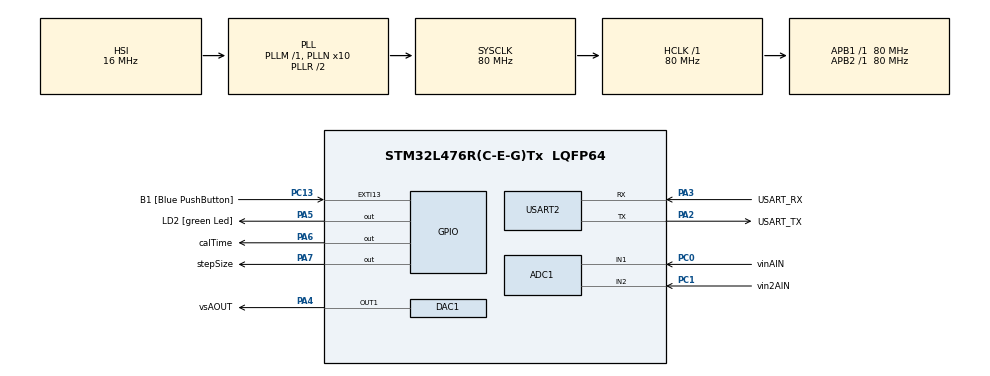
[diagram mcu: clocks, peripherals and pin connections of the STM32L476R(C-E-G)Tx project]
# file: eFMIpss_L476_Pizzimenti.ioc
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ADC1.Channel-0\#ChannelRegularConversion=ADC_CHANNEL_1
ADC1.NbrOfConversionFlag=1
ADC1.OffsetNumber-0\#ChannelRegularConversion=ADC_OFFSET_NONE
ADC1.Rank-0\#ChannelRegularConversion=1
ADC1.SamplingTime-0\#ChannelRegularConversion=ADC_SAMPLETIME_2CYCLES_5
ADC1.master=1
Mcu.Family=STM32L4
Mcu.Name=STM32L476R(C-E-G)Tx
Mcu.Package=LQFP64
NVIC.EXTI15_10_IRQn=true\:0\:0\:false\:false\:true\:true\:true\:true
NVIC.PriorityGroup=NVIC_PRIORITYGROUP_4
NVIC.TIM1_UP_TIM16_IRQn=true\:0\:0\:false\:false\:true\:true\:true\:true
PA13\ (JTMS-SWDIO).GPIO_Label=TMS
PA13\ (JTMS-SWDIO).Mode=Serial_Wire
PA13\ (JTMS-SWDIO).Signal=SYS_JTMS-SWDIO
PA14\ (JTCK-SWCLK).GPIO_Label=TCK
PA14\ (JTCK-SWCLK).Mode=Serial_Wire
PA14\ (JTCK-SWCLK).Signal=SYS_JTCK-SWCLK
PA2.GPIO_Label=USART_TX
PA2.GPIO_Mode=GPIO_MODE_AF_PP
PA2.GPIO_PuPd=GPIO_NOPULL
PA2.GPIO_Speed=GPIO_SPEED_FREQ_VERY_HIGH
PA2.Mode=Asynchronous
PA2.Signal=USART2_TX
PA3.GPIO_Label=USART_RX
PA3.GPIO_Mode=GPIO_MODE_AF_PP
PA3.GPIO_PuPd=GPIO_NOPULL
PA3.GPIO_Speed=GPIO_SPEED_FREQ_VERY_HIGH
PA3.Mode=Asynchronous
PA3.Signal=USART2_RX
PA4.GPIO_Label=vsAOUT
PA4.Signal=COMP_DAC11_group
PA5.GPIO_Label=LD2 [green Led]
PA5.GPIO_ModeDefaultOutputPP=GPIO_MODE_OUTPUT_PP
PA5.GPIO_PuPd=GPIO_NOPULL
PA5.GPIO_Speed=GPIO_SPEED_FREQ_LOW
PA5.Signal=GPIO_Output
PA6.GPIO_Label=calTime
PA6.Signal=GPIO_Output
PA7.GPIO_Label=stepSize
PA7.Signal=GPIO_Output
PB3\ (JTDO-TRACESWO).GPIO_Label=SWO
PB3\ (JTDO-TRACESWO).Signal=SYS_JTDO-SWO
PC0.GPIO_Label=vinAIN
PC0.Signal=ADCx_IN1
PC1.GPIO_Label=vin2AIN
PC1.Signal=ADCx_IN2
PC13.GPIO_Label=B1 [Blue PushButton]
PC13.GPIO_ModeDefaultEXTI=GPIO_MODE_IT_FALLING
PC13.GPIO_PuPd=GPIO_NOPULL
PC13.Signal=GPXTI13
PC14-OSC32_IN\ (PC14).Mode=LSE-External-Oscillator
PC14-OSC32_IN\ (PC14).Signal=RCC_OSC32_IN
PC15-OSC32_OUT\ (PC15).Mode=LSE-External-Oscillator
PC15-OSC32_OUT\ (PC15).Signal=RCC_OSC32_OUT
PH0-OSC_IN\ (PH0).Signal=RCC_OSC_IN
PH1-OSC_OUT\ (PH1).Signal=RCC_OSC_OUT
ProjectManager.HeapSize=0x200
ProjectManager.StackSize=0x400
ProjectManager.TargetToolchain=STM32CubeIDE
RCC.ADCFreq_Value=64000000
RCC.AHBFreq_Value=80000000
RCC.APB1Freq_Value=80000000
RCC.APB1TimFreq_Value=80000000
RCC.APB2Freq_Value=80000000
RCC.APB2TimFreq_Value=80000000
RCC.CortexFreq_Value=80000000
RCC.HCLKFreq_Value=80000000
RCC.HSE_VALUE=8000000
RCC.HSI_VALUE=16000000
RCC.MSI_VALUE=4000000
RCC.PLLN=10
RCC.PLLSourceVirtual=RCC_PLLSOURCE_HSI
RCC.PREFETCH_ENABLE=1
RCC.SYSCLKFreq_VALUE=80000000
RCC.SYSCLKSource=RCC_SYSCLKSOURCE_PLLCLK
RCC.USBFreq_Value=64000000
RCC.VCOOutputFreq_Value=160000000
SH.ADCx_IN1.0=ADC1_IN1,IN1-Single-Ended
SH.ADCx_IN2.0=ADC1_IN2,IN2-Single-Ended
SH.COMP_DAC11_group.0=DAC1_OUT1,DAC_OUT1
TIM1.CounterMode=TIM_COUNTERMODE_DOWN
TIM1.Period=999
TIM1.Prescaler=79
USART2.VirtualMode-Asynchronous=VM_ASYNC
VP_TIM1_VS_ClockSourceINT.Mode=Internal
board=NUCLEO-L476RG

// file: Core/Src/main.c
/* USER CODE BEGIN Header */
/** NEW main for L476
 *
  ******************************************************************************
  * @file           : main.c
  * @brief          : Main program body
  ******************************************************************************
  * @attention
  *
  * Copyright (c) 2025 STMicroelectronics.
  * All rights reserved.
  *
  * This software is licensed under terms that can be found in the LICENSE file
  * in the root directory of this software component.
  * If no LICENSE file comes with this software, it is provided AS-IS.
  *
  ******************************************************************************
  */
/* USER CODE END Header */
#include "main.h"

/* USER CODE BEGIN Includes */
#include "block.h"
/* USER CODE END Includes */

/* USER CODE BEGIN PTD */
//Made a readable alias here because the hash is annoyingly long...
typedef BlockState_H225c1baf6cf5a31bc9b0c38998c32298f6f0531c_cb4a8a449b4ada864625ee5a4355578a3aaf08ed ModelPSS;
/* USER CODE END PTD */

ADC_HandleTypeDef hadc1;

DAC_HandleTypeDef hdac1;

TIM_HandleTypeDef htim1;

UART_HandleTypeDef huart2;

/* USER CODE BEGIN PV */
static ModelPSS pssModel;

/* USER CODE END PV */

void SystemClock_Config(void);
static void MX_GPIO_Init(void);
static void MX_USART2_UART_Init(void);
static void MX_ADC1_Init(void);
static void MX_DAC1_Init(void);
static void MX_TIM1_Init(void);
/* USER CODE BEGIN PFP */
static uint16_t ADC1_ReadOnce(void);
static float ADC_CodeToVolts(uint16_t code, float vdda);
/* USER CODE END PFP */

int main(void)
{

  /* MCU Configuration--------------------------------------------------------*/

  /* Reset of all peripherals, Initializes the Flash interface and the Systick. */
  HAL_Init();

  /* Configure the system clock */
  SystemClock_Config();

  /* Initialize all configured peripherals */
  MX_GPIO_Init();
  MX_USART2_UART_Init();
  MX_ADC1_Init();
  MX_DAC1_Init();
  MX_TIM1_Init();
  /* USER CODE BEGIN 2 */
    //Call the eFMI Startup function directly (instead of using Hao's eFMI wrapper file)
    Startup_H225c1baf6cf5a31bc9b0c38998c32298f6f0531c_cb4a8a449b4ada864625ee5a4355578a3aaf08ed(&pssModel);

    HAL_DAC_Start(&hdac1, DAC_CHANNEL_1);
    HAL_TIM_Base_Start_IT(&htim1);
    __enable_irq();

  /* USER CODE END 2 */

  /* Infinite loop */
  while (1)
  {

  }
}

void SystemClock_Config(void)
{
  RCC_OscInitTypeDef RCC_OscInitStruct = {0};
  RCC_ClkInitTypeDef RCC_ClkInitStruct = {0};

  /** Configure the main internal regulator output voltage
  */
  if (HAL_PWREx_ControlVoltageScaling(PWR_REGULATOR_VOLTAGE_SCALE1) != HAL_OK)
  {
    Error_Handler();
  }

  /** Initializes the RCC Oscillators according to the specified parameters
  * in the RCC_OscInitTypeDef structure.
  */
  RCC_OscInitStruct.OscillatorType = RCC_OSCILLATORTYPE_HSI;
  RCC_OscInitStruct.HSIState = RCC_HSI_ON;
  RCC_OscInitStruct.HSICalibrationValue = RCC_HSICALIBRATION_DEFAULT;
  RCC_OscInitStruct.PLL.PLLState = RCC_PLL_ON;
  RCC_OscInitStruct.PLL.PLLSource = RCC_PLLSOURCE_HSI;
  RCC_OscInitStruct.PLL.PLLM = 1;
  RCC_OscInitStruct.PLL.PLLN = 10;
  RCC_OscInitStruct.PLL.PLLP = RCC_PLLP_DIV7;
  RCC_OscInitStruct.PLL.PLLQ = RCC_PLLQ_DIV2;
  RCC_OscInitStruct.PLL.PLLR = RCC_PLLR_DIV2;
  if (HAL_RCC_OscConfig(&RCC_OscInitStruct) != HAL_OK)
  {
    Error_Handler();
  }

  /** Initializes the CPU, AHB and APB buses clocks
  */
  RCC_ClkInitStruct.ClockType = RCC_CLOCKTYPE_HCLK|RCC_CLOCKTYPE_SYSCLK
                              |RCC_CLOCKTYPE_PCLK1|RCC_CLOCKTYPE_PCLK2;
  RCC_ClkInitStruct.SYSCLKSource = RCC_SYSCLKSOURCE_PLLCLK;
  RCC_ClkInitStruct.AHBCLKDivider = RCC_SYSCLK_DIV1;
  RCC_ClkInitStruct.APB1CLKDivider = RCC_HCLK_DIV1;
  RCC_ClkInitStruct.APB2CLKDivider = RCC_HCLK_DIV1;

  if (HAL_RCC_ClockConfig(&RCC_ClkInitStruct, FLASH_LATENCY_4) != HAL_OK)
  {
    Error_Handler();
  }
}

static void MX_ADC1_Init(void)
{

  ADC_MultiModeTypeDef multimode = {0};
  ADC_ChannelConfTypeDef sConfig = {0};

  /** Common config
  */
  hadc1.Instance = ADC1;
  hadc1.Init.ClockPrescaler = ADC_CLOCK_ASYNC_DIV1;
  hadc1.Init.Resolution = ADC_RESOLUTION_12B;
  hadc1.Init.DataAlign = ADC_DATAALIGN_RIGHT;
  hadc1.Init.ScanConvMode = ADC_SCAN_DISABLE;
  hadc1.Init.EOCSelection = ADC_EOC_SINGLE_CONV;
  hadc1.Init.LowPowerAutoWait = DISABLE;
  hadc1.Init.ContinuousConvMode = DISABLE;
  hadc1.Init.NbrOfConversion = 1;
  hadc1.Init.DiscontinuousConvMode = DISABLE;
  hadc1.Init.ExternalTrigConv = ADC_SOFTWARE_START;
  hadc1.Init.ExternalTrigConvEdge = ADC_EXTERNALTRIGCONVEDGE_NONE;
  hadc1.Init.DMAContinuousRequests = DISABLE;
  hadc1.Init.Overrun = ADC_OVR_DATA_PRESERVED;
  hadc1.Init.OversamplingMode = DISABLE;
  if (HAL_ADC_Init(&hadc1) != HAL_OK)
  {
    Error_Handler();
  }

  /** Configure the ADC multi-mode
  */
  multimode.Mode = ADC_MODE_INDEPENDENT;
  if (HAL_ADCEx_MultiModeConfigChannel(&hadc1, &multimode) != HAL_OK)
  {
    Error_Handler();
  }

  /** Configure Regular Channel
  */
  sConfig.Channel = ADC_CHANNEL_1;
  sConfig.Rank = ADC_REGULAR_RANK_1;
  sConfig.SamplingTime = ADC_SAMPLETIME_2CYCLES_5;
  sConfig.SingleDiff = ADC_SINGLE_ENDED;
  sConfig.OffsetNumber = ADC_OFFSET_NONE;
  sConfig.Offset = 0;
  if (HAL_ADC_ConfigChannel(&hadc1, &sConfig) != HAL_OK)
  {
    Error_Handler();
  }

}

static void MX_DAC1_Init(void)
{

  DAC_ChannelConfTypeDef sConfig = {0};

  /** DAC Initialization
  */
  hdac1.Instance = DAC1;
  if (HAL_DAC_Init(&hdac1) != HAL_OK)
  {
    Error_Handler();
  }

  /** DAC channel OUT1 config
  */
  sConfig.DAC_SampleAndHold = DAC_SAMPLEANDHOLD_DISABLE;
  sConfig.DAC_Trigger = DAC_TRIGGER_NONE;
  sConfig.DAC_OutputBuffer = DAC_OUTPUTBUFFER_ENABLE;
  sConfig.DAC_ConnectOnChipPeripheral = DAC_CHIPCONNECT_DISABLE;
  sConfig.DAC_UserTrimming = DAC_TRIMMING_FACTORY;
  if (HAL_DAC_ConfigChannel(&hdac1, &sConfig, DAC_CHANNEL_1) != HAL_OK)
  {
    Error_Handler();
  }

}

static void MX_TIM1_Init(void)
{

  TIM_ClockConfigTypeDef sClockSourceConfig = {0};
  TIM_MasterConfigTypeDef sMasterConfig = {0};

  htim1.Instance = TIM1;
  htim1.Init.Prescaler = 79;
  htim1.Init.CounterMode = TIM_COUNTERMODE_DOWN;
  htim1.Init.Period = 999;
  htim1.Init.ClockDivision = TIM_CLOCKDIVISION_DIV1;
  htim1.Init.RepetitionCounter = 0;
  htim1.Init.AutoReloadPreload = TIM_AUTORELOAD_PRELOAD_DISABLE;
  if (HAL_TIM_Base_Init(&htim1) != HAL_OK)
  {
    Error_Handler();
  }
  sClockSourceConfig.ClockSource = TIM_CLOCKSOURCE_INTERNAL;
  if (HAL_TIM_ConfigClockSource(&htim1, &sClockSourceConfig) != HAL_OK)
  {
    Error_Handler();
  }
  sMasterConfig.MasterOutputTrigger = TIM_TRGO_RESET;
  sMasterConfig.MasterOutputTrigger2 = TIM_TRGO2_RESET;
  sMasterConfig.MasterSlaveMode = TIM_MASTERSLAVEMODE_DISABLE;
  if (HAL_TIMEx_MasterConfigSynchronization(&htim1, &sMasterConfig) != HAL_OK)
  {
    Error_Handler();
  }

}

static void MX_USART2_UART_Init(void)
{

  huart2.Instance = USART2;
  huart2.Init.BaudRate = 115200;
  huart2.Init.WordLength = UART_WORDLENGTH_8B;
  huart2.Init.StopBits = UART_STOPBITS_1;
  huart2.Init.Parity = UART_PARITY_NONE;
  huart2.Init.Mode = UART_MODE_TX_RX;
  huart2.Init.HwFlowCtl = UART_HWCONTROL_NONE;
  huart2.Init.OverSampling = UART_OVERSAMPLING_16;
  huart2.Init.OneBitSampling = UART_ONE_BIT_SAMPLE_DISABLE;
  huart2.AdvancedInit.AdvFeatureInit = UART_ADVFEATURE_NO_INIT;
  if (HAL_UART_Init(&huart2) != HAL_OK)
  {
    Error_Handler();
  }

}

static void MX_GPIO_Init(void)
{
  GPIO_InitTypeDef GPIO_InitStruct = {0};

  /* GPIO Ports Clock Enable */
  __HAL_RCC_GPIOC_CLK_ENABLE();
  __HAL_RCC_GPIOH_CLK_ENABLE();
  __HAL_RCC_GPIOA_CLK_ENABLE();
  __HAL_RCC_GPIOB_CLK_ENABLE();

  /*Configure GPIO pin Output Level */
  HAL_GPIO_WritePin(GPIOA, LD2_Pin|calTime_Pin|stepSize_Pin, GPIO_PIN_RESET);

  /*Configure GPIO pin : B1_Pin */
  GPIO_InitStruct.Pin = B1_Pin;
  GPIO_InitStruct.Mode = GPIO_MODE_IT_FALLING;
  GPIO_InitStruct.Pull = GPIO_NOPULL;
  HAL_GPIO_Init(B1_GPIO_Port, &GPIO_InitStruct);

  /*Configure GPIO pins : LD2_Pin calTime_Pin stepSize_Pin */
  GPIO_InitStruct.Pin = LD2_Pin|calTime_Pin|stepSize_Pin;
  GPIO_InitStruct.Mode = GPIO_MODE_OUTPUT_PP;
  GPIO_InitStruct.Pull = GPIO_NOPULL;
  GPIO_InitStruct.Speed = GPIO_SPEED_FREQ_LOW;
  HAL_GPIO_Init(GPIOA, &GPIO_InitStruct);

  /* EXTI interrupt init*/
  HAL_NVIC_SetPriority(EXTI15_10_IRQn, 0, 0);
  HAL_NVIC_EnableIRQ(EXTI15_10_IRQn);

}

/* USER CODE BEGIN 4 */
void HAL_TIM_PeriodElapsedCallback(TIM_HandleTypeDef *htim)
{
  if (htim->Instance == TIM1) {
    static SPE_Real_H225c1baf6cf5a31bc9b0c38998c32298f6f0531c_cb4a8a449b4ada864625ee5a4355578a3aaf08ed vSI_pre = 1;

    HAL_GPIO_TogglePin(GPIOC, stepSize_Pin);
    HAL_GPIO_WritePin(GPIOC, calTime_Pin,GPIO_PIN_SET);

    //Input Processing/Filtering:
    pssModel.vSI =
      ((SPE_Real_H225c1baf6cf5a31bc9b0c38998c32298f6f0531c_cb4a8a449b4ada864625ee5a4355578a3aaf08ed) 0.002) * ADC_CodeToVolts(ADC1_ReadOnce(), 3.3)
	  + ((SPE_Real_H225c1baf6cf5a31bc9b0c38998c32298f6f0531c_cb4a8a449b4ada864625ee5a4355578a3aaf08ed) 0.998) * vSI_pre;
    vSI_pre = pssModel.vSI;

    // Compute sampling step:
    DoStep_H225c1baf6cf5a31bc9b0c38998c32298f6f0531c_cb4a8a449b4ada864625ee5a4355578a3aaf08ed(&pssModel);

    //Output Processing:
    HAL_DAC_SetValue(&hdac1, DAC_CHANNEL_1, DAC_ALIGN_12B_R, (uint32_t)(4095 * (((double) pssModel.vs) + 1.5) / 3.3));

    HAL_GPIO_WritePin(GPIOC, calTime_Pin,GPIO_PIN_RESET);
  }
}

static uint16_t ADC1_ReadOnce(void)
{
  HAL_ADC_Start(&hadc1);                                        // start single conversion
  HAL_ADC_PollForConversion(&hadc1, 10);                        // wait (timeout 10 ms)
  uint16_t code = (uint16_t)HAL_ADC_GetValue(&hadc1);           // 0..4095 (12-bit)
  HAL_ADC_Stop(&hadc1);                                         // optional for one-shot
  return code;
}

static float ADC_CodeToVolts(uint16_t code, float vdda)
{
  return (vdda * (float)code) / 4095.0f;                        // V = code/4095 * VDDA
}
/* USER CODE END 4 */

void Error_Handler(void)
{
  __disable_irq();
  while (1)
  {
  }
}
